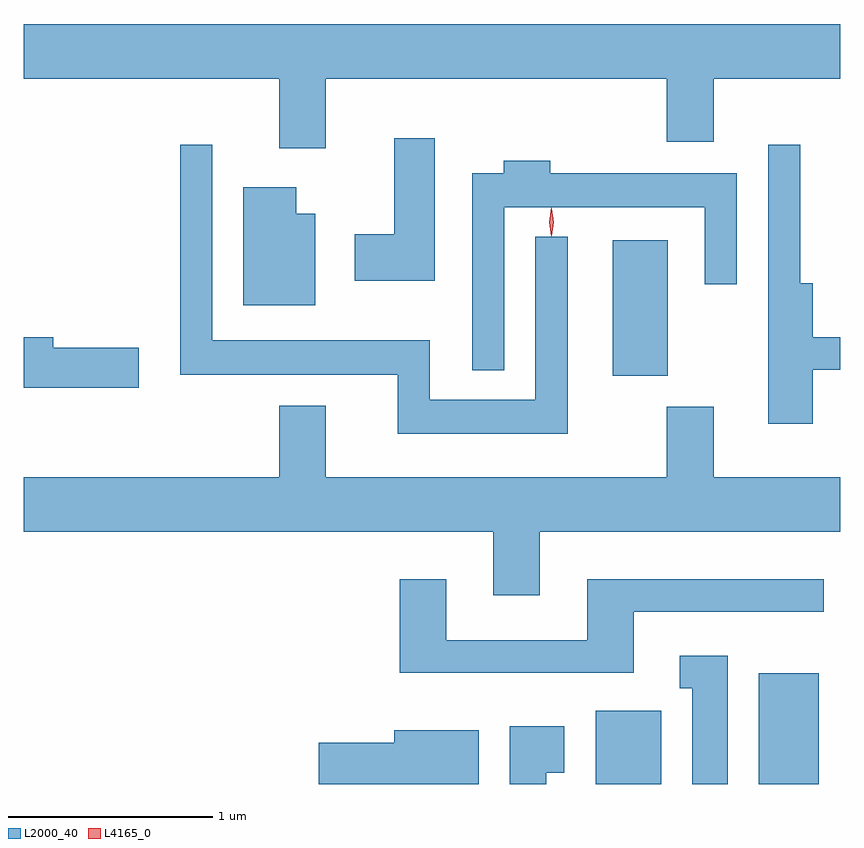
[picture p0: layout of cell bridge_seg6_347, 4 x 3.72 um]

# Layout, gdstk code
import gdstk
lib = gdstk.Library(unit=1e-6, precision=1e-09)
def R(c, l, rs):  # rectangles x0, y0, x1, y1
    for r in rs: c.add(gdstk.rectangle(r[:2], r[2:], *l))
def P(c, l, *ps):  # polygons
    for p in ps: c.add(gdstk.Polygon(p, *l))
L2000_40 = (2000, 40)
L4165_0 = (4165, 0)

bridge_seg6_347 = lib.new_cell('bridge_seg6_347')
R(bridge_seg6_347, L2000_40, [(1306.301,1548.801,1306.624,1549.159), (1307.101,1548.801,1307.394,1549.344), (1306.386,1550.801,1306.654,1551.464)])
P(bridge_seg6_347, L2000_40, [(1304.979,1552.256),(1306.651,1552.256),(1306.651,1551.946),(1306.879,1551.946),(1306.879,1552.256),(1307.5,1552.256),(1307.5,1552.524),(1303.5,1552.524),(1303.5,1552.256),(1304.751,1552.256),(1304.751,1551.916),(1304.979,1551.916)],
  [(1305.514,1551.964),(1305.316,1551.964),(1305.316,1551.494),(1305.121,1551.494),(1305.121,1551.266),(1305.514,1551.266)],
  [(1307.364,1550.831),(1307.5,1550.831),(1307.5,1550.989),(1307.364,1550.989),(1307.364,1551.254),(1307.304,1551.254),(1307.304,1551.933),(1307.146,1551.933),(1307.146,1550.566),(1307.364,1550.566)],
  [(1306.164,1551.483),(1306.006,1551.483),(1306.006,1550.684),(1305.489,1550.684),(1305.489,1550.974),(1304.424,1550.974),(1304.424,1551.933),(1304.266,1551.933),(1304.266,1550.806),(1305.331,1550.806),(1305.331,1550.516),(1306.164,1550.516)],
  [(1305.854,1551.626),(1306.836,1551.626),(1306.836,1551.248),(1306.994,1551.248),(1306.994,1551.794),(1306.079,1551.794),(1306.079,1551.854),(1305.851,1551.854),(1305.851,1551.794),(1305.696,1551.794),(1305.696,1550.828),(1305.854,1550.828)],
  [(1304.929,1551.594),(1304.834,1551.594),(1304.834,1551.724),(1304.576,1551.724),(1304.576,1551.146),(1304.929,1551.146)],
  [(1304.064,1550.939),(1303.644,1550.939),(1303.644,1550.989),(1303.5,1550.989),(1303.5,1550.741),(1304.064,1550.741)],
  [(1306.029,1550.036),(1307.5,1550.036),(1307.5,1550.304),(1306.879,1550.304),(1306.879,1550.649),(1306.651,1550.649),(1306.651,1550.304),(1304.979,1550.304),(1304.979,1550.654),(1304.751,1550.654),(1304.751,1550.304),(1303.5,1550.304),(1303.5,1550.036),(1305.801,1550.036),(1305.801,1549.726),(1306.029,1549.726)],
  [(1306.489,1549.646),(1307.418,1549.646),(1307.418,1549.804),(1306.261,1549.804),(1306.261,1549.504),(1305.569,1549.504),(1305.569,1549.804),(1305.341,1549.804),(1305.341,1549.346),(1306.489,1549.346)],
  [(1306.949,1549.429),(1306.713,1549.429),(1306.713,1549.271),(1306.776,1549.271),(1306.776,1548.801),(1306.949,1548.801)],
  [(1306.059,1548.856),(1306.149,1548.856),(1306.149,1549.084),(1305.881,1549.084),(1305.881,1548.801),(1306.059,1548.801)],
  [(1305.729,1549.064),(1305.316,1549.064),(1305.316,1549.004),(1304.946,1549.004),(1304.946,1548.801),(1305.729,1548.801)])
P(bridge_seg6_347, L4165_0, [(1306.083,1551.484),(1306.074,1551.553),(1306.083,1551.623),(1306.084,1551.623),(1306.084,1551.623),(1306.094,1551.553),(1306.084,1551.484),(1306.084,1551.484)],
  [(1306.086,1551.487),(1306.086,1551.487),(1306.076,1551.554),(1306.086,1551.62),(1306.086,1551.621),(1306.087,1551.62),(1306.096,1551.554),(1306.087,1551.487)])

lib.write_gds('bridge_seg6_347.gds')
